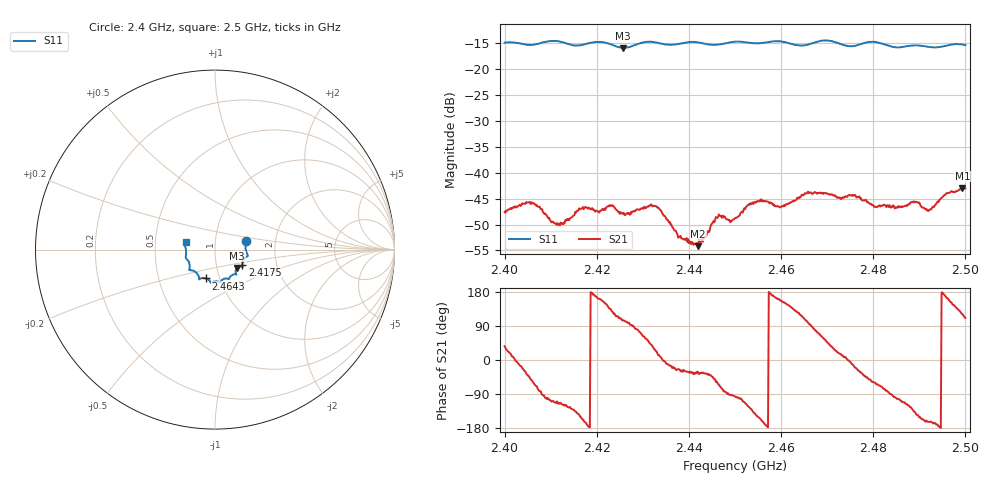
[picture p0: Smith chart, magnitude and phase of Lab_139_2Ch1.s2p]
# Hz S RI R 50
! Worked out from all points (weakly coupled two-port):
!   601 points, 2.4 GHz to 2.5 GHz, reference 50 ohm
!   highest |S21| = -42.96 dB at 2.4993 GHz (marker M1); lowest = -54.2 dB at 2.442 GHz (marker M2)
!   lowest |S11| = -15.9 dB at 2.4257 GHz (marker M3), VSWR 1.38, Z = 62.5 - j13.1 ohm
!   |S11| at or under -10 dB: start of sweep to end of sweep
!   S12 and S22 are empty: the file has one direction only
!   S11 on the Smith chart (normalised r, x): 2.4 GHz: 1.41, +0.14; 2.4175 GHz: 1.34, -0.23; 2.4643 GHz: 0.86, -0.28; 2.5 GHz: 0.72, +0.06
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2.4e9  0.1727 0.0489  0.00337 0.00249  0 0  0 0
2.405833e9  0.1702 0.00432  0.0031 -0.00416  0 0  0 0
2.4115e9  0.1819 -0.0362  -0.00135 -0.00296  0 0  0 0
2.416667e9  0.1527 -0.0742  -0.00403 -0.00198  0 0  0 0
2.4175e9  0.1518 -0.0836  -0.00449 -0.00125  0 0  0 0
2.423167e9  0.1442 -0.094  -0.00316 0.00367  0 0  0 0
2.425667e9  0.1228 -0.1018  -0.00105 0.00387  0 0  0 0
2.433333e9  0.1133 -0.1373  0.00449 0.00104  0 0  0 0
2.438e9  0.0824 -0.1542  0.00216 -0.00102  0 0  0 0
2.442e9  0.0743 -0.1643  0.00166 -0.00104  0 0  0 0
2.446333e9  0.0451 -0.1657  0.00168 -0.00336  0 0  0 0
2.45e9  0.0291 -0.181  -0.000387 -0.00363  0 0  0 0
2.455167e9  0.000757 -0.177  -0.00464 -0.00249  0 0  0 0
2.46e9  -0.0245 -0.1827  -0.00432 0.00187  0 0  0 0
2.464333e9  -0.0499 -0.1606  -0.00268 0.0053  0 0  0 0
2.466667e9  -0.0755 -0.1592  0.000163 0.0063  0 0  0 0
2.483333e9  -0.1408 -0.0901  0.000405 -0.00465  0 0  0 0
2.489167e9  -0.1628 -0.0443  -0.004 -0.00341  0 0  0 0
2.492167e9  -0.1613 -0.0237  -0.00421 -0.00126  0 0  0 0
2.495667e9  -0.166 0.0163  -0.00601 0.00123  0 0  0 0
2.499333e9  -0.1672 0.0393  -0.00372 0.00606  0 0  0 0
2.5e9  -0.1642 0.0432  -0.00252 0.0066  0 0  0 0
